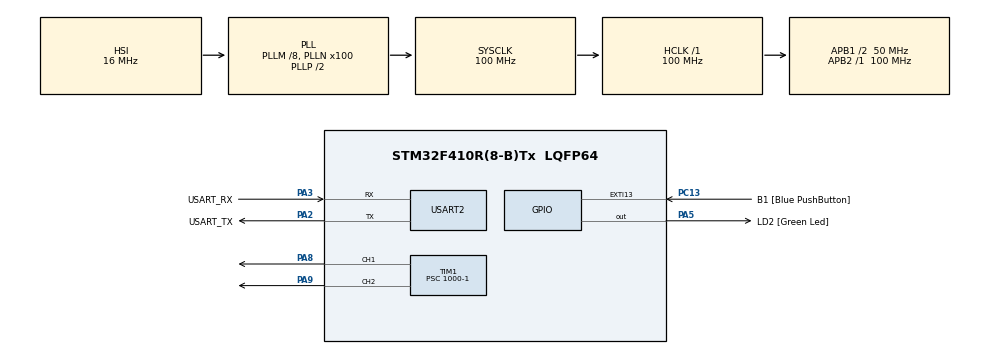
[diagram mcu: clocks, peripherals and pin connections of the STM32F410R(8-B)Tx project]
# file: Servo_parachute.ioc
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Mcu.Family=STM32F4
Mcu.Name=STM32F410R(8-B)Tx
Mcu.Package=LQFP64
NVIC.PriorityGroup=NVIC_PRIORITYGROUP_0
NVIC.USART2_IRQn=true\:0\:0\:false\:false\:true\:true\:true\:true
PA13.GPIO_Label=TMS
PA13.Mode=Serial_Wire
PA13.Signal=SYS_JTMS-SWDIO
PA14.GPIO_Label=TCK
PA14.Mode=Serial_Wire
PA14.Signal=SYS_JTCK-SWCLK
PA2.GPIO_Label=USART_TX
PA2.Mode=Asynchronous
PA2.Signal=USART2_TX
PA3.GPIO_Label=USART_RX
PA3.Mode=Asynchronous
PA3.Signal=USART2_RX
PA5.GPIO_Label=LD2 [Green Led]
PA5.Signal=GPIO_Output
PA8.Signal=S_TIM1_CH1
PA9.Signal=S_TIM1_CH2
PB3.GPIO_Label=SWO
PB3.Signal=SYS_JTDO-SWO
PC13-ANTI_TAMP.GPIO_Label=B1 [Blue PushButton]
PC13-ANTI_TAMP.GPIO_ModeDefaultEXTI=GPIO_MODE_IT_FALLING
PC13-ANTI_TAMP.Signal=GPXTI13
PC14-OSC32_IN.Mode=LSE-External-Oscillator
PC14-OSC32_IN.Signal=RCC_OSC32_IN
PC15-OSC32_OUT.Mode=LSE-External-Oscillator
PC15-OSC32_OUT.Signal=RCC_OSC32_OUT
PH0\ -\ OSC_IN.Mode=HSE-External-Clock-Source
PH0\ -\ OSC_IN.Signal=RCC_OSC_IN
PH1\ -\ OSC_OUT.Mode=HSE-External-Clock-Source
PH1\ -\ OSC_OUT.Signal=RCC_OSC_OUT
ProjectManager.HeapSize=0x200
ProjectManager.StackSize=0x400
ProjectManager.TargetToolchain=STM32CubeIDE
RCC.48MHZClocksFreq_Value=50000000
RCC.AHBFreq_Value=100000000
RCC.APB1CLKDivider=RCC_HCLK_DIV2
RCC.APB1Freq_Value=50000000
RCC.APB1TimFreq_Value=100000000
RCC.APB2Freq_Value=100000000
RCC.APB2TimFreq_Value=100000000
RCC.CortexFreq_Value=100000000
RCC.FLatency-AdvancedSettings=FLASH_LATENCY_3
RCC.HCLKFreq_Value=100000000
RCC.HSE_VALUE=8000000
RCC.HSI_VALUE=16000000
RCC.PLLM=8
RCC.PLLN=100
RCC.SYSCLKFreq_VALUE=100000000
RCC.SYSCLKSource=RCC_SYSCLKSOURCE_PLLCLK
RCC.VCOOutputFreq_Value=200000000
SH.S_TIM1_CH1.0=TIM1_CH1,PWM Generation1 CH1
SH.S_TIM1_CH2.0=TIM1_CH2,PWM Generation2 CH2
TIM1.Channel-PWM\ Generation1\ CH1=TIM_CHANNEL_1
TIM1.Channel-PWM\ Generation2\ CH2=TIM_CHANNEL_2
TIM1.Period=2000-1
TIM1.Prescaler=1000-1
USART2.VirtualMode=VM_ASYNC
VP_TIM1_VS_ClockSourceINT.Mode=Internal
board=NUCLEO-F410RB

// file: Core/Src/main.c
/* USER CODE BEGIN Header */
/**
  ******************************************************************************
  * @file           : main.c
  * @brief          : Main program body
  ******************************************************************************
  * @attention
  *
  * Copyright (c) 2022 STMicroelectronics.
  * All rights reserved.
  *
  * This software is licensed under terms that can be found in the LICENSE file
  * in the root directory of this software component.
  * If no LICENSE file comes with this software, it is provided AS-IS.
  *
  ******************************************************************************
  */
/* USER CODE END Header */
#include "main.h"
#include "tim.h"
#include "usart.h"
#include "gpio.h"
#include <math.h>

/* USER CODE BEGIN PV */
uint8_t uartTxBuffer[32];
float teta_can=0;   //donné par le magnétomètre
float teta_cible=0; // Calculé grâce à la position GPS

/* USER CODE END PV */

void SystemClock_Config(void);

/* USER CODE BEGIN 0 */
int __io_putchar(int ch)
{
	HAL_UART_Transmit(&huart2, (uint8_t*)&ch, 1, HAL_MAX_DELAY);

	return ch;
}
/* USER CODE END 0 */

int main(void)
{
  /* USER CODE BEGIN 1 */
	//unsigned int angleLeft = 0;
	//uint8_t msgLength;
	int position=100;
  /* USER CODE END 1 */

  /* MCU Configuration--------------------------------------------------------*/

  /* Reset of all peripherals, Initializes the Flash interface and the Systick. */
  HAL_Init();

  /* Configure the system clock */
  SystemClock_Config();

  /* Initialize all configured peripherals */
  MX_GPIO_Init();
  MX_USART2_UART_Init();
  MX_TIM1_Init();
  /* USER CODE BEGIN 2 */
  HAL_TIM_PWM_Start(&htim1, TIM_CHANNEL_1);
  HAL_TIM_PWM_Start(&htim1, TIM_CHANNEL_2);

  float f=atan2(-1,0);
  printf("resulat : %.2f \r\n",f);

  for (int i=350;i<=400;i++){
	  choice_direction_intensity(i);
	  printf("delta_teta: %d \r\n",i);
	  HAL_Delay(100);
  }

  /* USER CODE END 2 */

  /* Infinite loop */
  /* USER CODE BEGIN WHILE */
  while (1)
  {
	  	  	  /* Code avec fonction angleLeft pour faire tourner le moteur de 180° et fonctionne avec maxAngle-minAngle<360
	  	  	  angleLeft++;
	  		  if (angleLeft==0){
	  			  angleLeft=180;
	  		  }
	  		  if(angleLeft == 180) {
	  			  angleLeft=0;
	  			  HAL_Delay(1000);
	  		  }
	  		  servoSetAngleLeft(angleLeft);*/

	  		  //msgLength = snprintf(uartTxBuffer,32,"angleLeft : %4d \r\n",angleLeft);
	  		  //HAL_UART_Transmit(&htim1, uartTxBuffer, msgLength, 100);

}
    /* USER CODE END WHILE */

}

void SystemClock_Config(void)
{
  RCC_OscInitTypeDef RCC_OscInitStruct = {0};
  RCC_ClkInitTypeDef RCC_ClkInitStruct = {0};

  /** Configure the main internal regulator output voltage
  */
  __HAL_RCC_PWR_CLK_ENABLE();
  __HAL_PWR_VOLTAGESCALING_CONFIG(PWR_REGULATOR_VOLTAGE_SCALE1);

  /** Initializes the RCC Oscillators according to the specified parameters
  * in the RCC_OscInitTypeDef structure.
  */
  RCC_OscInitStruct.OscillatorType = RCC_OSCILLATORTYPE_HSI;
  RCC_OscInitStruct.HSIState = RCC_HSI_ON;
  RCC_OscInitStruct.HSICalibrationValue = RCC_HSICALIBRATION_DEFAULT;
  RCC_OscInitStruct.PLL.PLLState = RCC_PLL_ON;
  RCC_OscInitStruct.PLL.PLLSource = RCC_PLLSOURCE_HSI;
  RCC_OscInitStruct.PLL.PLLM = 8;
  RCC_OscInitStruct.PLL.PLLN = 100;
  RCC_OscInitStruct.PLL.PLLP = RCC_PLLP_DIV2;
  RCC_OscInitStruct.PLL.PLLQ = 4;
  RCC_OscInitStruct.PLL.PLLR = 2;
  if (HAL_RCC_OscConfig(&RCC_OscInitStruct) != HAL_OK)
  {
    Error_Handler();
  }

  /** Initializes the CPU, AHB and APB buses clocks
  */
  RCC_ClkInitStruct.ClockType = RCC_CLOCKTYPE_HCLK|RCC_CLOCKTYPE_SYSCLK
                              |RCC_CLOCKTYPE_PCLK1|RCC_CLOCKTYPE_PCLK2;
  RCC_ClkInitStruct.SYSCLKSource = RCC_SYSCLKSOURCE_PLLCLK;
  RCC_ClkInitStruct.AHBCLKDivider = RCC_SYSCLK_DIV1;
  RCC_ClkInitStruct.APB1CLKDivider = RCC_HCLK_DIV2;
  RCC_ClkInitStruct.APB2CLKDivider = RCC_HCLK_DIV1;

  if (HAL_RCC_ClockConfig(&RCC_ClkInitStruct, FLASH_LATENCY_3) != HAL_OK)
  {
    Error_Handler();
  }
}

void Error_Handler(void)
{
  __disable_irq();
  while (1)
  {
  }
}
